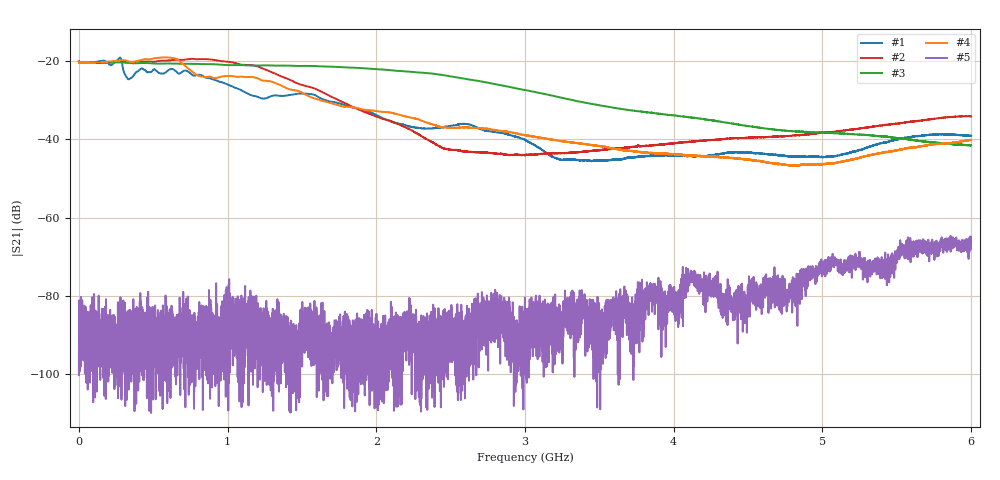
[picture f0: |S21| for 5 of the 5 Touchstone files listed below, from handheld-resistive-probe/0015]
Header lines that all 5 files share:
! Ref Plane: 0.000 mm
# MHZ S MA R  50
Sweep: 300 kHz to 6 GHz
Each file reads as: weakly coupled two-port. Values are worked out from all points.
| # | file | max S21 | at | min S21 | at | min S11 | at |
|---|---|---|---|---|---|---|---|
| 1 | flexground.s2p | -19.06 dB | 276.3 MHz | -45.6 dB | 3.448 GHz | -26.4 dB | 300 kHz |
| 2 | leafground.s2p | -19.39 dB | 762.9 MHz | -44.1 dB | 3 GHz | -26.5 dB | 300 kHz |
| 3 | tipground.s2p | -20.10 dB | 300 kHz | -41.6 dB | 5.994 GHz | -26.5 dB | 300 kHz |
| 4 | zground.s2p | -18.99 dB | 579.9 MHz | -46.9 dB | 4.832 GHz | -26.5 dB | 300 kHz |
| 5 | zin.s2p | -64.66 dB | 5.862 GHz | -110.0 dB | 485.7 MHz | -5.4 dB | 2.669 GHz |
